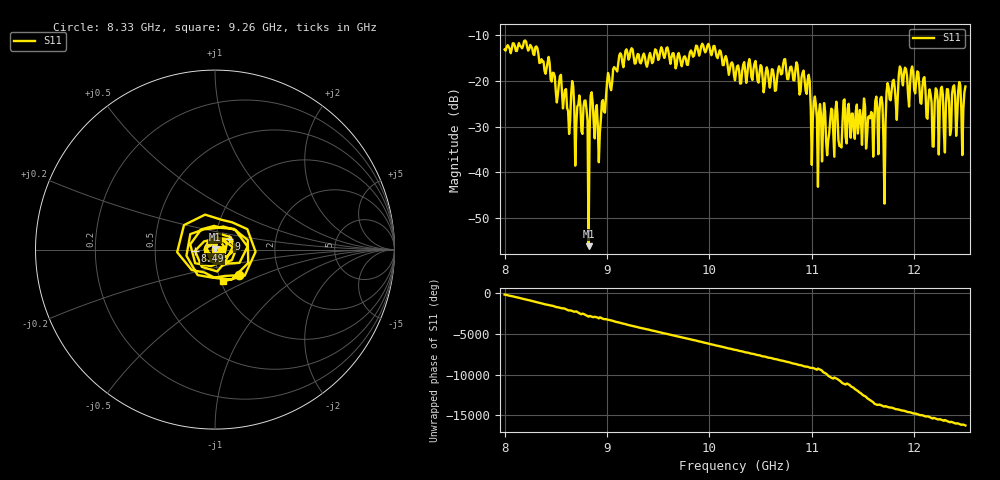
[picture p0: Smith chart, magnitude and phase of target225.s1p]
#  HZ  S  RI  R  50.00
! Rohde & Schwarz Vector Network Analyzer
! Rohde-Schwarz,ZNA43-4Port,1332450044101932,2.92
! Created: UTC 6/9/2026, 6:48:35 AM
! freq[Hz]  re:S11  im:S11
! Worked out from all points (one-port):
!   451 points, 8 GHz to 12.5 GHz, reference 50 ohm
!   lowest |S11| = -56.1 dB at 8.82 GHz (marker M1), VSWR 1.00, Z = 50.1 + j0.0867 ohm
!   |S11| at or under -10 dB: start of sweep to end of sweep
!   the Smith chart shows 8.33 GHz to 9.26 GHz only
!   S11 on the Smith chart (normalised r, x): 8.33 GHz: 1.25, -0.37; 8.49 GHz: 0.80, -0.01; 9 GHz: 1.15, +0.13; 9.26 GHz: 1.03, -0.38
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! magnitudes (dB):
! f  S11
! 8 GHz  -13.2
! 8.33 GHz  -14.2
! 8.49 GHz  -19.0
! 8.57 GHz  -26.0
! 8.7 GHz  -29.6
! 8.79 GHz  -24.3
! 8.8 GHz  -26.4
! 8.82 GHz  -56.1
! 8.85 GHz  -22.5
! 8.93 GHz  -31.4
! 9 GHz  -20.5
! 9.13 GHz  -14.0
! 9.26 GHz  -14.7
! 9.69 GHz  -14.5
! 9.99 GHz  -11.9
! 10.25 GHz  -19.9
! 10.82 GHz  -19.9
! 10.96 GHz  -19.7
! 11.08 GHz  -25.1
! 11.38 GHz  -32.4
! 11.68 GHz  -23.5
! 11.7 GHz  -33.0
! 11.75 GHz  -21.3
! 11.94 GHz  -22.9
! 12.09 GHz  -19.5
! 12.18 GHz  -34.3
! 12.48 GHz  -26.2
! 12.5 GHz  -21.3
